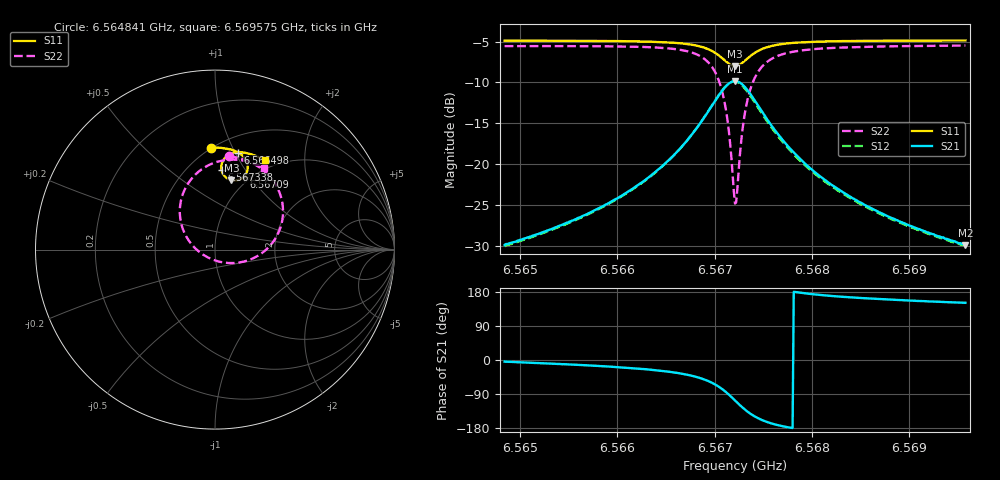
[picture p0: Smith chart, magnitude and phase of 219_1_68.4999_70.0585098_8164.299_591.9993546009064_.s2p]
#  HZ  S  RI  R  50.00
! Rohde & Schwarz Vector Network Analyzer
! Rohde-Schwarz,ZNB20-2Port,1311601062101988,3.16
! Created: UTC 3/20/2024, 5:13:34 PM
! freq[Hz]  re:S11  im:S11  re:S21  im:S21  re:S12  im:S12  re:S22  im:S22
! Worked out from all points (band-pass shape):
!   401 points, 6.564841 GHz to 6.569575 GHz, reference 50 ohm
!   highest |S21| = -9.84 dB at 6.567208 GHz (marker M1); lowest = -29.9 dB at 6.569575 GHz (marker M2)
!   |S21| within 3 dB of the highest: 6.566972 GHz to 6.567445 GHz (472.7 kHz wide, 0.0072 % of centre)
!   lowest |S11| = -8.0 dB at 6.567208 GHz (marker M3), VSWR 2.32, Z = 43.2 + j39.7 ohm
!   |S11| at or under -10 dB: nowhere
!   |S22| runs from -24.8 to -5.5 dB; largest |S21 - S12| = 0.016
!   S11 on the Smith chart (normalised r, x): 6.564841 GHz: 0.49, +0.83; 6.566498 GHz: 0.66, +1.03; 6.56709 GHz: 0.93, +0.94; 6.567338 GHz: 0.71, +0.79; 6.569575 GHz: 0.88, +1.30
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6.5648406e9  -0.0249 0.5685  0.0319 -0.0024  0.0314 -0.00309  0.0776 0.521
6.5656337e9  0.0419 0.5661  0.0467 -0.0111  0.0459 -0.0116  0.1585 0.5023
6.5660835e9  0.0841 0.5585  0.0623 -0.0229  0.0614 -0.0236  0.2179 0.4765
6.5664268e9  0.1211 0.5453  0.0828 -0.0436  0.0816 -0.0446  0.2785 0.434
6.5664978e9  0.1296 0.5408  0.0886 -0.0507  0.0871 -0.0519  0.2938 0.4195
6.5667345e9  0.1601 0.5165  0.1106 -0.0924  0.1089 -0.0942  0.3507 0.3383
6.5669121e9  0.1804 0.4773  0.1201 -0.1613  0.1169 -0.1649  0.3789 0.2055
6.5670186e9  0.1791 0.4376  0.0993 -0.2309  0.0927 -0.2356  0.3427 0.0727
6.5670897e9  0.1612 0.4069  0.0534 -0.283  0.0424 -0.2864  0.2563 -0.0232
6.567137e9  0.138 0.3909  0.00255 -0.3084  -0.0111 -0.3089  0.1613 -0.0665
6.5671962e9  0.0997 0.3851  -0.0767 -0.3124  -0.0915 -0.3067  0.0175 -0.0656
6.567208e9  0.0917 0.3867  -0.0928 -0.3085  -0.1072 -0.3014  -0.0108 -0.0564
6.5672317e9  0.0765 0.3919  -0.1234 -0.2961  -0.1366 -0.2865  -0.0635 -0.03
6.5672909e9  0.0478 0.4171  -0.1816 -0.2443  -0.1896 -0.2308  -0.1585 0.07
6.5673382e9  0.0369 0.4423  -0.2053 -0.1944  -0.2087 -0.1808  -0.1914 0.1605
6.5674329e9  0.0402 0.4862  -0.2067 -0.1099  -0.2048 -0.0993  -0.1797 0.308
6.567575e9  0.0678 0.5223  -0.1704 -0.0401  -0.1667 -0.0341  -0.1016 0.4252
6.5677407e9  0.0998 0.5377  -0.1308 -0.00686  -0.1276 -0.00395  -0.0199 0.4775
6.5680011e9  0.1389 0.5421  -0.0918 0.0101  -0.0894 0.0115  0.0665 0.4997
6.5683207e9  0.1752 0.5378  -0.0654 0.0155  -0.0638 0.0163  0.1338 0.4994
6.5687942e9  0.2186 0.5251  -0.0446 0.0167  -0.0435 0.0171  0.2001 0.4857
6.5695754e9  0.2789 0.4979  -0.028 0.0156  -0.0273 0.0158  0.2757 0.4542
